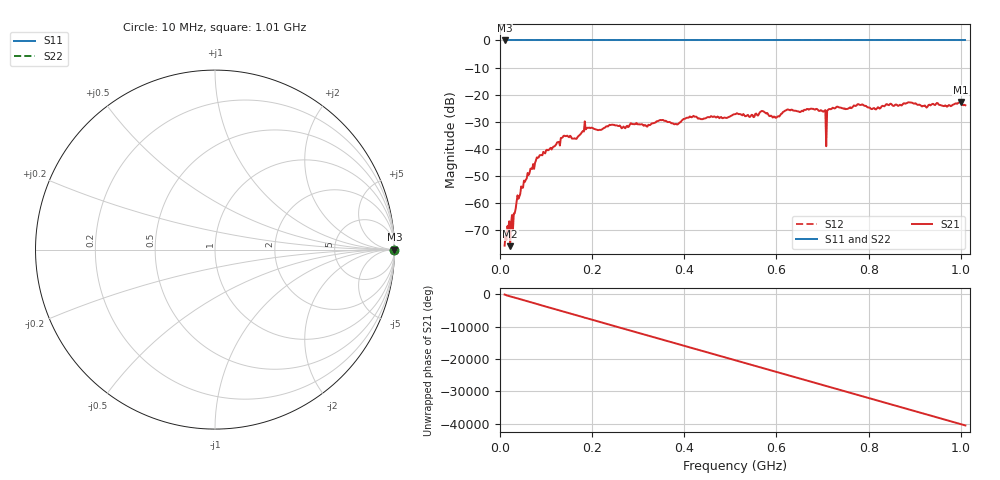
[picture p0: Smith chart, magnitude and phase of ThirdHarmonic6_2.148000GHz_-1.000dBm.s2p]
! 8/17/2025 1:39:16 AM
! C:\ANRITSUVNA\TEMP\TEMP.S2P
! CHANNEL.1
! TR.MEASUREMENT
! RAW.DATA
! RF.CORRECTION.OFF
! AVERAGING.OFF
! IF.BANDWIDTH: 5KHZ
! SWEEPTYPE:  FREQ.SWEEP(Linear)
! Reference Plane Port Info
! PORT:  PORT1  PORT2
! DISTANCE:  0  m  0  m
! TIME:  0  s  0  s
! PHASE.OFFSET:  0  deg.  0  deg.
! LOSS:  0  dB  0  dB
! REF.LOSS:  0  dB  0  dB
! REF.FREQ:  0  Hz  0  Hz
! Power Info
! POWER:  -20  dBm  -20  dBm
! EFF.POWER:  -20  dBm  -20  dBm
! SOURCE.ATTEN:  0  dB  0  dB
! TEST.ATTEN:  0  dB  0  dB
# GHZ S RI R 50.0
! FREQ.GHZ  S11RE  S11IM  S21RE  S21IM  S12RE  S12IM  S22RE  S22IM
!; PortSelection: Port_12
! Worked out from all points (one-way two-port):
!   501 points, 10 MHz to 1.01 GHz, reference 50 ohm
!   highest |S21| = -22.78 dB at 1 GHz (marker M1); lowest = -76.0 dB at 22 MHz (marker M2)
!   lowest |S11| = 0.0 dB at 10 MHz (marker M3)
!   |S11| at or under -10 dB: nowhere
!   |S22| runs from 0.0 to 0.0 dB; largest |S21 - S12| = 1.1
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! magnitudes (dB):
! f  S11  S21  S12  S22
! 10 MHz  0.0  -75.8  0.0  0.0
! 22 MHz  0.0  -76.0  0.0  0.0
! 26 MHz  0.0  -64.5  0.0  0.0
! 34 MHz  0.0  -62.2  0.0  0.0
! 50 MHz  0.0  -54.4  0.0  0.0
! 82 MHz  0.0  -43.3  0.0  0.0
! 136 MHz  0.0  -35.8  0.0  0.0
! 178 MHz  0.0  -33.8  0.0  0.0
! 188 MHz  0.0  -32.5  0.0  0.0
! 344 MHz  0.0  -29.7  0.0  0.0
! 382 MHz  0.0  -30.8  0.0  0.0
! 416 MHz  0.0  -28.4  0.0  0.0
! 510 MHz  0.0  -27.3  0.0  0.0
! 570 MHz  0.0  -26.1  0.0  0.0
! 596 MHz  0.0  -28.2  0.0  0.0
! 678 MHz  0.0  -25.3  0.0  0.0
! 702 MHz  0.0  -26.3  0.0  0.0
! 704 MHz  0.0  -26.0  0.0  0.0
! 732 MHz  0.0  -24.4  0.0  0.0
! 844 MHz  0.0  -23.9  0.0  0.0
! 1 GHz  0.0  -22.8  0.0  0.0
! 1.01 GHz  0.0  -24.0  0.0  0.0
